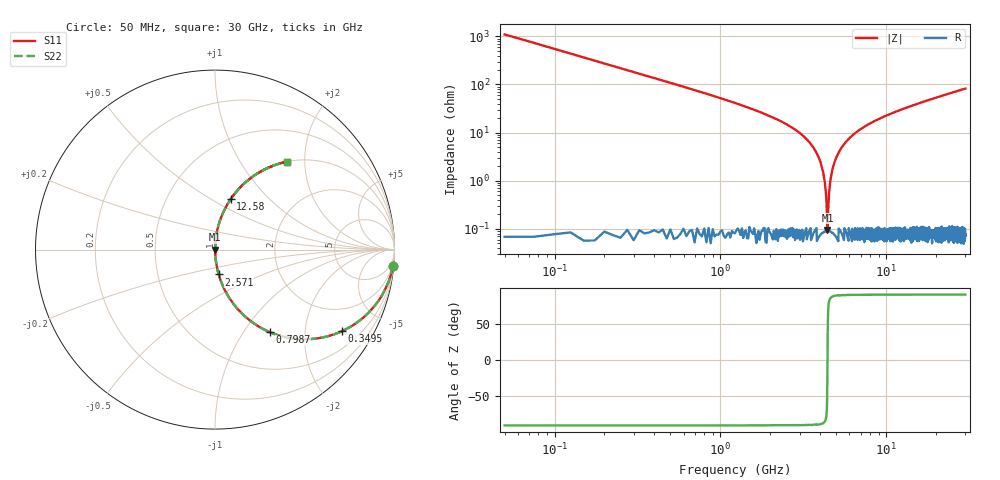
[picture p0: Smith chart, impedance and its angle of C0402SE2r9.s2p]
!	AVX Thin Film Operation 	Date: April 2014
!	Description: Accu-P® Series, Thin Film  SMD RF Capacitor
!	Part Number: 04025J2R9QBSTR
# MHZ S MA R 50
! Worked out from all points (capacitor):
!   1201 points, 50 MHz to 30 GHz, reference 50 ohm
!   read as one part in series: C = 2.9 pF near 199.8 MHz
!   lowest |Z| = 95.5 mohm at 4.418 GHz (marker M1)
!   series resonance near 4.423 GHz, so ESL is about 450 pH
!   S11 on the Smith chart (normalised r, x): 50 MHz: 1, -22; 349.5 MHz: 1.00, -3.12; 798.8 MHz: 1.00, -1.33; 2.571 GHz: 1.00, -0.28; 12.58 GHz: 1.00, +0.62; 30 GHz: 1.00, +1.65
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50  0.996 -5.2  0.091 84.8  0.091 84.8  0.996 -5.2
349.5  0.842 -32.6  0.539 57.3  0.539 57.3  0.842 -32.6
798.75  0.553 -56.3  0.832 33.6  0.832 33.6  0.553 -56.3
1422.708  0.327 -70.8  0.944 19.1  0.944 19.1  0.327 -70.8
2570.792  0.14 -81.6  0.989 8.0  0.989 8.0  0.14 -81.6
3344.5  0.07 -85.3  0.997 4.0  0.997 4.0  0.07 -85.3
3868.625  0.033 -86.7  0.999 1.9  0.999 1.9  0.033 -86.7
4118.208  0.018 -86.4  0.999 1.0  0.999 1.0  0.018 -86.4
4317.875  0.006042 -82.1  0.999 0.3  0.999 0.3  0.006042 -82.1
4417.708  0.0008615 -21.8  0.999 0.0  0.999 0.0  0.0008615 -21.8
4517.542  0.005281 81.0  0.999 -0.3  0.999 -0.3  0.005281 81.0
4642.333  0.012 85.5  0.999 -0.7  0.999 -0.7  0.012 85.5
4742.167  0.017 86.4  0.999 -1.0  0.999 -1.0  0.017 86.4
5041.667  0.033 86.7  0.999 -1.9  0.999 -1.9  0.033 86.7
5715.542  0.064 85.6  0.997 -3.7  0.997 -3.7  0.064 85.6
6663.958  0.104 83.6  0.994 -6.0  0.994 -6.0  0.104 83.6
10058.29  0.222 77.0  0.974 -12.8  0.974 -12.8  0.222 77.0
12579.08  0.295 72.7  0.955 -17.2  0.955 -17.2  0.295 72.7
15025  0.359 68.8  0.933 -21.0  0.933 -21.0  0.359 68.8
20016.67  0.471 61.8  0.882 -28.1  0.882 -28.1  0.471 61.8
25033.29  0.562 55.7  0.826 -34.2  0.826 -34.2  0.562 55.7
30000  0.635 50.5  0.772 -39.4  0.772 -39.4  0.635 50.5
